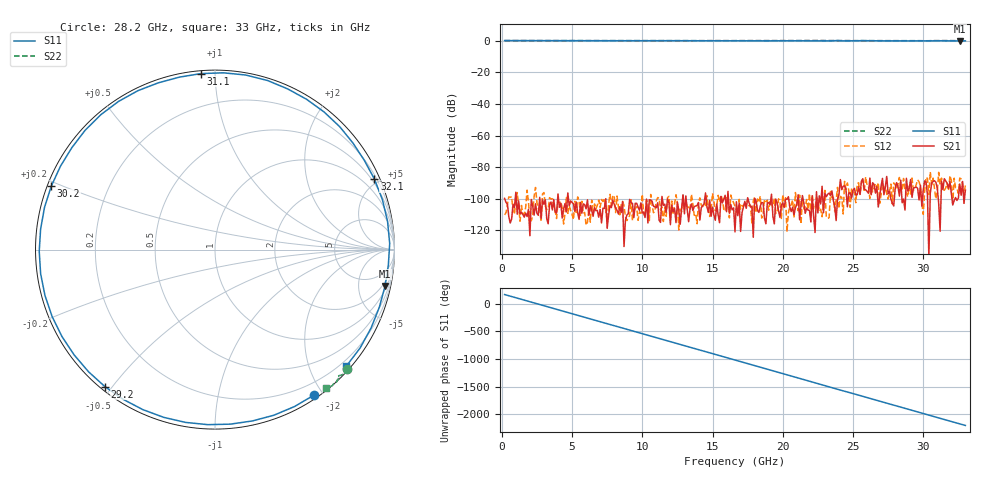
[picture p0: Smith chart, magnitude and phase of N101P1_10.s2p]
# GHZ S RI R 50
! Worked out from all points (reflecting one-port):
!   329 points, 200 MHz to 33 GHz, reference 50 ohm
!   lowest |S11| = -0.3 dB at 32.6 GHz (marker M1), VSWR 63.37, Z = 69.3 - j461 ohm
!   phase of S11 starts at 165 deg and turns -2367 deg over the sweep
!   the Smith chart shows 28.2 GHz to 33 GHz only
!   S11 on the Smith chart (normalised r, x): 28.2 GHz: 0.05, -1.88; 29.2 GHz: 0.01, -0.48; 30.2 GHz: 0.01, +0.19; 31.1 GHz: 0.02, +0.92; 32.1 GHz: 0.34, +4.71; 33 GHz: 0.09, -2.63
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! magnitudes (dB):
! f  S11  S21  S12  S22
! 200 MHz  0.0  -99.7  -110.2  0.0
! 5.7 GHz  -0.1  -109.1  -101.5  0.0
! 9 GHz  -0.1  -109.4  -111.6  0.0
! 11.2 GHz  -0.1  -113.6  -99.8  0.0
! 16.6 GHz  -0.1  -120.9  -104.9  0.0
! 22.1 GHz  -0.2  -98.2  -97.5  0.0
! 23.4 GHz  -0.2  -98.1  -95.4  0.0
! 23.9 GHz  0.0  -100.0  -92.8  0.1
! 24.2 GHz  -0.2  -94.2  -99.1  0.0
! 24.6 GHz  -0.1  -105.1  -90.0  0.0
! 24.9 GHz  -0.2  -99.5  -93.4  0.0
! 25.6 GHz  -0.1  -88.9  -89.7  -0.1
! 27.6 GHz  -0.2  -95.1  -94.9  -0.1
! 28.2 GHz  -0.2  -92.1  -90.9  -0.1
! 29.2 GHz  -0.2  -99.0  -86.8  -0.1
! 29.6 GHz  -0.2  -93.4  -88.1  0.0
! 30.2 GHz  -0.2  -89.3  -86.4  -0.1
! 31.1 GHz  -0.1  -103.0  -83.3  0.0
! 31.4 GHz  -0.1  -94.2  -94.6  0.0
! 32.1 GHz  -0.3  -103.9  -103.2  0.0
! 32.6 GHz  -0.3  -90.7  -86.9  0.0
! 33 GHz  -0.2  -94.6  -91.3  -0.1
